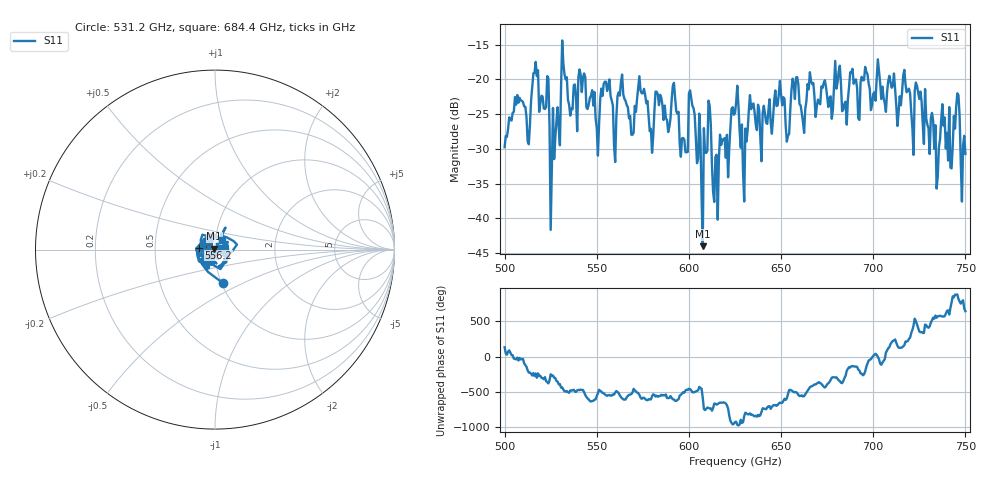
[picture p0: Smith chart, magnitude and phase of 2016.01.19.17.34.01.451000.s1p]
!Created with skrf (http://scikit-rf.org).
# GHz S RI R 50.0
!freq ReS11 ImS11
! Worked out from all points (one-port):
!   401 points, 500 GHz to 750 GHz, reference 50 ohm
!   lowest |S11| = -44.0 dB at 607.5 GHz (marker M1), VSWR 1.01, Z = 49.5 + j0.43 ohm
!   |S11| at or under -10 dB: start of sweep to end of sweep
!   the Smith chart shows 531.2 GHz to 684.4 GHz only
!   S11 on the Smith chart (normalised r, x): 531.2 GHz: 1.01, -0.39; 556.2 GHz: 0.84, +0.02; 684.4 GHz: 1.07, +0.12
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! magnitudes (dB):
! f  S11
! 500 GHz  -29.7
! 506.9 GHz  -22.2
! 513.1 GHz  -29.3
! 516.9 GHz  -17.5
! 526.2 GHz  -24.1
! 531.2 GHz  -14.4
! 550.6 GHz  -31.0
! 556.2 GHz  -20.9
! 559.4 GHz  -29.5
! 562.5 GHz  -22.3
! 593.8 GHz  -24.9
! 598.1 GHz  -30.5
! 601.2 GHz  -22.7
! 607.5 GHz  -44.0
! 610.6 GHz  -23.0
! 614.4 GHz  -31.1
! 625 GHz  -24.8
! 630.6 GHz  -27.1
! 633.8 GHz  -24.3
! 653.8 GHz  -28.1
! 656.2 GHz  -19.9
! 680.6 GHz  -20.5
! 684.4 GHz  -23.5
! 687.5 GHz  -19.0
! 718.8 GHz  -21.6
! 734.4 GHz  -35.7
! 745 GHz  -23.9
! 750 GHz  -30.7
